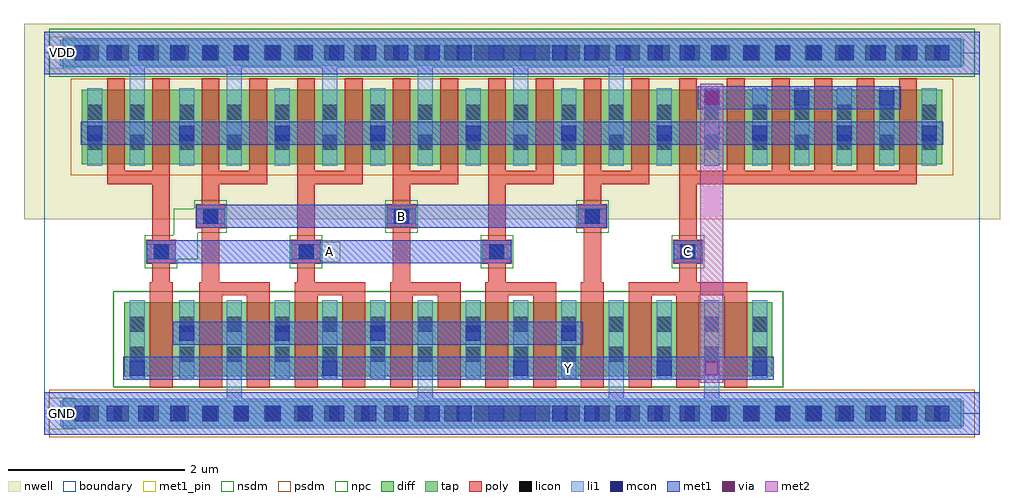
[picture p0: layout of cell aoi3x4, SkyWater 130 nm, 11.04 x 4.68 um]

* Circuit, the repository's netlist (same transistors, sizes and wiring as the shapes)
** sch_path: /foss/designs/aoi3x4.sch
.subckt aoi3x4 VDD GND A B C Y
*.PININFO VDD:B GND:B A:I B:I C:I Y:O
XM2 net2 A VDD VDD sky130_fd_pr__pfet_01v8 L=0.2 W=5.04 nf=6
XM3 net2 B VDD VDD sky130_fd_pr__pfet_01v8 L=0.2 W=5.04 nf=6
XM4 Y A net1 GND sky130_fd_pr__nfet_01v8 L=0.26 W=4.2 nf=5
XM5 Y C GND GND sky130_fd_pr__nfet_01v8 L=0.26 W=2.52 nf=3
XM1 Y C net2 VDD sky130_fd_pr__pfet_01v8 L=0.2 W=5.04 nf=6
XM6 net1 B GND GND sky130_fd_pr__nfet_01v8 L=0.26 W=4.2 nf=5
.ends

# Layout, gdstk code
import gdstk
lib = gdstk.Library(unit=1e-6, precision=1e-09)
def R(c, l, rs):  # rectangles x0, y0, x1, y1
    for r in rs: c.add(gdstk.rectangle(r[:2], r[2:], *l))
def A(c, l, x, y, w, h, nx, ny, dx, dy):  # array of equal rectangles
    R(c, l, [(x+i*dx, y+j*dy, x+i*dx+w, y+j*dy+h) for i in range(nx) for j in range(ny)])
nwell = (64, 20)
diff = (65, 20)
tap = (65, 44)
poly = (66, 20)
licon = (66, 44)
li1 = (67, 20)
mcon = (67, 44)
met1_pin = (68, 16)
met1 = (68, 20)
via = (68, 44)
met2 = (69, 20)
nsdm = (93, 44)
psdm = (94, 20)
npc = (95, 20)
boundary = (235, 4)

aoi3x4 = lib.new_cell('aoi3x4')
R(aoi3x4, nwell, [(-0.23,2.2,10.81,4.41)])
R(aoi3x4, diff, [(0.905,0.42,8.235,1.26), (0.425,2.82,10.155,3.66)])
R(aoi3x4, tap, [(0.18,-0.145,10.4,0.145), (0.18,3.935,10.4,4.225)])
A(aoi3x4, poly, 1.75, 0.29, 0.26, 1.045, 8, 1, 0.54, 0)
A(aoi3x4, poly, 6.61, 0.29, 0.26, 1.045, 3, 1, 0.54, 0)
A(aoi3x4, poly, 1.75, 1.335, 0.8, 0.15, 4, 1, 1.08, 0)
A(aoi3x4, poly, 1.78, 1.485, 0.2, 0.61, 3, 1, 2.16, 0)
A(aoi3x4, poly, 2.86, 1.485, 0.2, 0.21, 3, 1, 2.16, 0)
A(aoi3x4, poly, 2.795, 1.695, 0.33, 0.27, 3, 1, 2.16, 0)
A(aoi3x4, poly, 2.86, 1.965, 0.2, 0.63, 3, 1, 2.16, 0)
A(aoi3x4, poly, 1.715, 2.095, 0.33, 0.27, 3, 1, 2.16, 0)
A(aoi3x4, poly, 1.78, 2.365, 0.2, 0.23, 3, 1, 2.16, 0)
A(aoi3x4, poly, 1.78, 2.595, 0.74, 0.15, 5, 1, 1.08, 0)
A(aoi3x4, poly, 1.78, 2.745, 0.2, 1.045, 12, 1, 0.54, 0)
A(aoi3x4, poly, 8.23, 2.745, 0.2, 1.045, 4, 1, 0.48, 0)
R(aoi3x4, poly, [(1.19,0.29,1.45,1.485), (6.07,0.29,6.33,1.485), (6.61,1.335,7.95,1.485), (1.22,1.485,1.42,1.695), (1.155,1.695,1.485,1.965), (1.22,1.965,1.42,2.595), (0.71,2.595,1.42,2.745), (7.18,2.595,9.87,2.745), (0.71,2.745,0.91,3.79), (1.22,2.745,1.42,3.79)])
A(aoi3x4, licon, 0.445, -0.085, 0.17, 0.17, 29, 2, 0.34, 4.08)
A(aoi3x4, licon, 1.525, 0.585, 0.17, 0.17, 13, 2, 0.54, 0.34)
A(aoi3x4, licon, 2.875, 1.745, 0.17, 0.17, 3, 1, 2.16, 0)
A(aoi3x4, licon, 1.795, 2.145, 0.17, 0.17, 3, 1, 2.16, 0)
A(aoi3x4, licon, 1.525, 2.985, 0.17, 0.17, 13, 2, 0.54, 0.34)
A(aoi3x4, licon, 8.485, 2.985, 0.17, 0.17, 4, 2, 0.48, 0.34)
R(aoi3x4, licon, [(0.965,0.585,1.135,0.755), (0.965,0.925,1.135,1.095), (1.235,1.745,1.405,1.915), (0.485,2.985,0.655,3.155), (0.965,2.985,1.135,3.155), (0.485,3.325,0.655,3.495), (0.965,3.325,1.135,3.495)])
A(aoi3x4, li1, 2.065, 0.165, 0.17, 1.115, 3, 1, 2.16, 0)
A(aoi3x4, li1, 2.605, 0.4, 0.17, 0.88, 3, 1, 0.54, 0)
A(aoi3x4, li1, 4.765, 0.4, 0.17, 0.88, 3, 1, 0.54, 0)
A(aoi3x4, li1, 2.795, 1.745, 0.33, 0.17, 3, 1, 2.16, 0)
A(aoi3x4, li1, 1.715, 2.145, 0.33, 0.17, 3, 1, 2.16, 0)
A(aoi3x4, li1, 1.525, 2.8, 0.17, 0.88, 6, 1, 1.08, 0)
A(aoi3x4, li1, 2.065, 2.8, 0.17, 1.115, 5, 1, 1.08, 0)
A(aoi3x4, li1, 8.005, 2.8, 0.17, 0.88, 5, 1, 0.48, 0)
R(aoi3x4, li1, [(0.21,-0.165,10.37,0.165), (7.465,0.165,7.635,1.28), (0.965,0.4,1.135,1.28), (1.525,0.4,1.695,1.28), (6.925,0.4,7.095,1.28), (8.005,0.4,8.175,1.28), (1.155,1.745,1.485,1.915), (0.485,2.8,0.655,3.68), (0.965,2.8,1.135,3.915), (7.465,2.8,7.635,3.68), (0.21,3.915,10.37,4.245)])
A(aoi3x4, mcon, 0.345, -0.085, 0.17, 0.17, 28, 2, 0.36, 4.08)
A(aoi3x4, mcon, 1.525, 0.825, 0.17, 0.17, 5, 1, 1.08, 0)
A(aoi3x4, mcon, 2.875, 1.745, 0.17, 0.17, 3, 1, 2.16, 0)
A(aoi3x4, mcon, 1.795, 2.145, 0.17, 0.17, 3, 1, 2.16, 0)
A(aoi3x4, mcon, 1.525, 3.085, 0.17, 0.17, 7, 1, 1.08, 0)
R(aoi3x4, mcon, [(0.965,0.425,1.135,0.595), (3.145,0.425,3.315,0.595), (5.305,0.425,5.475,0.595), (6.925,0.425,7.095,0.595), (8.005,0.425,8.175,0.595), (1.235,1.745,1.405,1.915), (0.485,3.085,0.655,3.255), (8.965,3.085,9.135,3.255), (9.925,3.085,10.095,3.255), (7.465,3.485,7.635,3.655), (8.485,3.485,8.655,3.655), (9.445,3.485,9.615,3.655)])
R(aoi3x4, met1_pin, [(0.05,-0.18,0.35,0.18), (5.815,0.395,6.045,0.625), (3.115,1.715,3.345,1.945), (7.165,1.715,7.395,1.945), (3.925,2.115,4.155,2.345), (0.05,3.9,0.35,4.26)])
R(aoi3x4, met1, [(0,-0.24,10.58,0.24), (0.89,0.38,8.25,0.64), (1.45,0.78,6.09,1.04), (1.16,1.7,5.28,1.96), (7.12,1.7,7.44,1.96), (1.72,2.1,6.36,2.36), (0.41,3.04,10.17,3.3), (7.39,3.44,9.69,3.7), (0,3.84,10.58,4.32)])
R(aoi3x4, via, [(7.475,0.435,7.625,0.585), (7.475,3.495,7.625,3.645)])
R(aoi3x4, met2, [(7.42,0.35,7.68,3.73)])
R(aoi3x4, nsdm, [(0.78,0.295,8.36,1.385), (0.055,3.81,10.525,4.35)])
R(aoi3x4, psdm, [(0.055,-0.27,10.525,0.27), (0.3,2.695,10.28,3.785)])
A(aoi3x4, npc, 2.775, 1.645, 0.37, 0.37, 3, 1, 2.16, 0)
R(aoi3x4, npc, [(1.135,1.645,1.505,1.745), (1.135,1.745,1.735,2.015), (1.465,2.015,1.735,2.045), (1.465,2.045,2.065,2.315), (3.855,2.045,4.225,2.415), (6.015,2.045,6.385,2.415), (1.695,2.315,2.065,2.415)])
R(aoi3x4, boundary, [(0,0,10.58,4.08)])
aoi3x4.add(gdstk.Label('VDD', (0.2,4.08), layer=68, texttype=5))
aoi3x4.add(gdstk.Label('GND', (0.2,0), layer=68, texttype=5))
aoi3x4.add(gdstk.Label('A', (3.23,1.83), layer=68, texttype=5))
aoi3x4.add(gdstk.Label('B', (4.04,2.23), layer=68, texttype=5))
aoi3x4.add(gdstk.Label('C', (7.28,1.83), layer=68, texttype=5))
aoi3x4.add(gdstk.Label('Y', (5.93,0.51), layer=68, texttype=5))

lib.write_gds('aoi3x4.gds')
